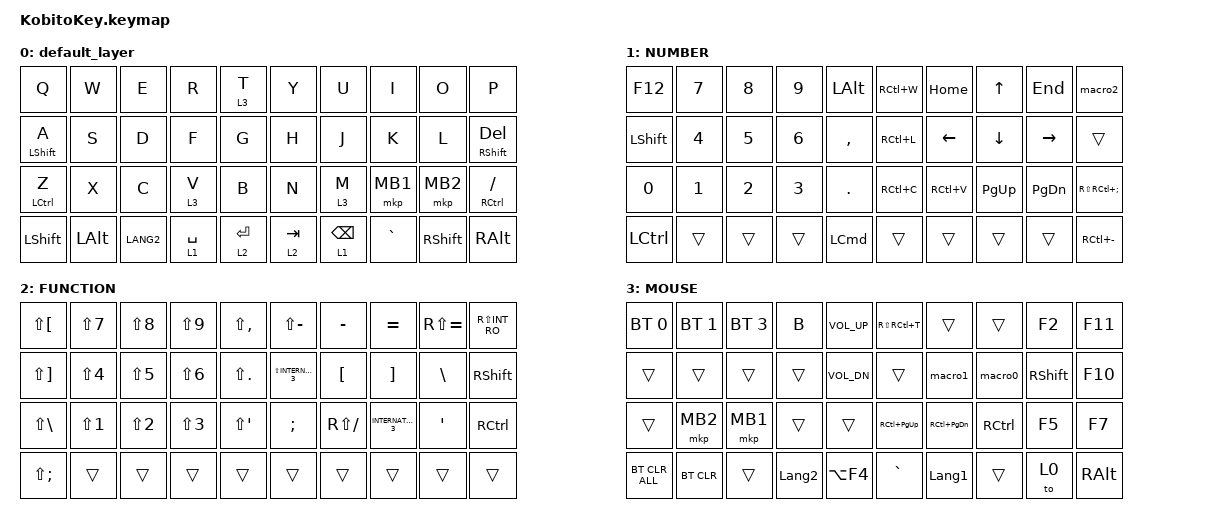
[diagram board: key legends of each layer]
#include <input/processors.dtsi>
#include <behaviors.dtsi>
#include <dt-bindings/zmk/bt.h>
#include <dt-bindings/zmk/keys.h>
#include <dt-bindings/zmk/pointing.h>

/ {
    combos {
        compatible = "zmk,combos";

        combo_eisu {
            timeout-ms = <50>;
            key-positions = <12 13>;
            bindings = <&kp LANG2>;
        };

        combo_kana {
            timeout-ms = <50>;
            key-positions = <16 17>;
            bindings = <&kp LANG1>;
        };

        combo_esc {
            timeout-ms = <50>;
            key-positions = <0 1>;
            bindings = <&kp ESC>;
        };

        combo_tab {
            timeout-ms = <50>;
            key-positions = <10 11>;
            bindings = <&kp TAB>;
        };
    };

    macros {
        macro2: new_macro {
            compatible = "zmk,behavior-macro";
            #binding-cells = <0>;
            bindings = <&kp RC(UP) &kp HOME>;
            label = "NEW_MACRO";
        };

        macro3: macro2 {
            compatible = "zmk,behavior-macro";
            #binding-cells = <0>;
            bindings = <&kp LC(DOWN_ARROW) &kp END>;
            label = "MACRO2";
        };

        macro0: macro0 {
            compatible = "zmk,behavior-macro";
            #binding-cells = <0>;
            bindings = <&kp RCTRL &kp RIGHT_SHIFT &kp RIGHT_ALT &kp RIGHT>;
            label = "MACRO0";
        };

        macro1: macro1 {
            compatible = "zmk,behavior-macro";
            #binding-cells = <0>;
            bindings = <&kp LCTRL &kp RIGHT_SHIFT &kp RIGHT_ALT &kp LEFT>;
            label = "MACRO1";
        };
    };

    keymap {
        compatible = "zmk,keymap";

        default_layer {
            bindings = <
&kp Q             &kp W     &kp E      &kp R        &lt 3 T      &kp Y      &kp U            &kp I      &kp O      &kp P
&mt LEFT_SHIFT A  &kp S     &kp D      &kp F        &kp G        &kp H      &kp J            &kp K      &kp L      &mt RIGHT_SHIFT DEL
&mt LCTRL Z       &kp X     &kp C      &lt 3 V      &kp B        &kp N      &lt 3 M          &mkp MB1   &mkp MB2   &mt RIGHT_CONTROL SLASH
&kp LSHFT         &kp LALT  &kp LANG2  &lt 1 SPACE  &lt 2 ENTER  &lt 2 TAB  &lt 1 BACKSPACE  &kp GRAVE  &kp RSHFT  &kp RIGHT_ALT
            >;
        };

        layer1 {
            label = "NUMBER";
            bindings = <
&kp F12           &kp N7        &kp N8        &kp N9        &kp LEFT_ALT  &kp RC(W)  &kp HOME   &kp UP       &kp END        &macro2
&kp LEFT_SHIFT    &kp N4        &kp N5        &kp N6        &kp COMMA     &kp RC(L)  &kp LEFT   &kp DOWN     &kp RIGHT      &trans
&kp NUMBER_0      &kp NUMBER_1  &kp NUMBER_2  &kp NUMBER_3  &kp DOT       &kp RC(C)  &kp RC(V)  &kp PAGE_UP  &kp PAGE_DOWN  &kp RS(RC(SEMI))
&kp LEFT_CONTROL  &trans        &trans        &trans        &kp LCMD      &trans     &trans     &trans       &trans         &kp RC(MINUS)
            >;
        };

        layer2 {
            label = "FUNCTION";
            bindings = <
&kp LS(LBKT)           &kp LS(NUMBER_7)  &kp LS(NUMBER_8)  &kp LS(N9)        &kp LS(COMMA)         &kp LS(MINUS)            &kp MINUS     &kp EQUAL            &kp RS(EQUAL)     &kp RS(INT_RO)
&kp LS(RIGHT_BRACKET)  &kp LS(NUMBER_4)  &kp LS(NUMBER_5)  &kp LS(NUMBER_6)  &kp LS(DOT)           &kp LS(INTERNATIONAL_3)  &kp LBKT      &kp RBKT             &kp BACKSLASH     &kp RIGHT_SHIFT
&kp LS(BACKSLASH)      &kp LS(NUMBER_1)  &kp LS(NUMBER_2)  &kp LS(NUMBER_3)  &kp LS(SINGLE_QUOTE)  &kp SEMI                 &kp RS(FSLH)  &kp INTERNATIONAL_3  &kp SINGLE_QUOTE  &kp RIGHT_CONTROL
&kp LS(SEMICOLON)      &trans            &trans            &trans            &trans                &trans                   &trans        &trans               &trans            &trans
            >;
        };

        layer3 {
            label = "MOUSE";
            bindings = <
&bt BT_SEL 0    &bt BT_SEL 1  &bt BT_SEL 3  &kp B           &kp C_VOL_UP  &kp RS(RC(T))    &trans             &trans             &kp F2           &kp F11
&trans          &trans        &trans        &trans          &kp C_VOL_DN  &trans           &macro1            &macro0            &kp RIGHT_SHIFT  &kp F10
&trans          &mkp MB2      &mkp MB1      &trans          &trans        &kp RC(PAGE_UP)  &kp RC(PAGE_DOWN)  &kp RIGHT_CONTROL  &kp F5           &kp F7
&bt BT_CLR_ALL  &bt BT_CLR    &trans        &kp LANGUAGE_2  &kp LA(F4)    &kp GRAVE        &kp LANGUAGE_1     &trans             &to 0            &kp RALT
            >;
        };
    };
};
